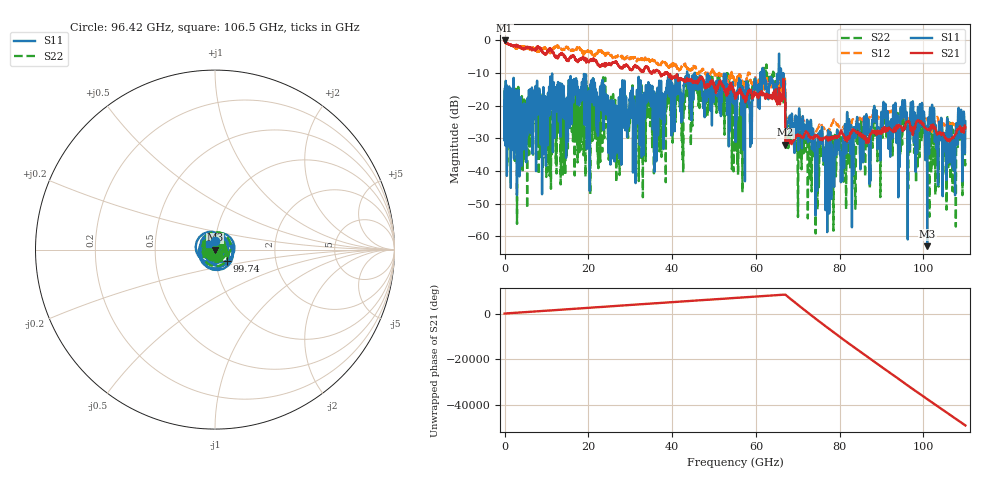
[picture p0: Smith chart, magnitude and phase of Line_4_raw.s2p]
#  HZ  S  RI  R  50.00
! Rohde & Schwarz ZVA67 4Ports - Version 4.11 - 1305.7002k04 SN: 101032
! Date: 2026-02-18 15:34:54
! Measurements: S11 S21 S12 S22
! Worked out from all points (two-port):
!   5500 points, 20 MHz to 110 GHz, reference 50 ohm
!   highest |S21| = -0.06 dB at 20 MHz (marker M1); lowest = -32.0 dB at 67.02 GHz (marker M2)
!   |S21| within 3 dB of the highest: start of sweep to 6.517 GHz; 7.362 GHz to 8.797 GHz (1.435 GHz wide, 17.8 % of centre)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
!   lowest |S11| = -63.1 dB at 100.9 GHz (marker M3), VSWR 1.00, Z = 50 - j0.0681 ohm
!   |S11| at or under -10 dB: start of sweep to 43.55 GHz; 45.33 GHz to 61.12 GHz (15.8 GHz wide, 29.7 % of centre); 66.02 GHz to end of sweep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
!   |S22| runs from -59.2 to -7.4 dB; largest |S21 - S12| = 1.9
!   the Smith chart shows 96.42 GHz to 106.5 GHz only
!   S11 on the Smith chart (normalised r, x): 96.42 GHz: 1.00, +0.09; 99.74 GHz: 1.14, -0.14; 106.5 GHz: 0.94, +0.05
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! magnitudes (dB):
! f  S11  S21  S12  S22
! 20 MHz  -14.9  -0.1  -0.5  -16.1
! 9.48 GHz  -33.1  -4.0  -2.3  -25.6
! 18.36 GHz  -15.8  -5.5  -3.0  -24.9
! 23.56 GHz  -22.1  -7.8  -3.8  -11.6
! 26.24 GHz  -33.2  -6.7  -5.1  -22.8
! 36.68 GHz  -25.8  -9.4  -7.3  -23.1
! 53.16 GHz  -19.1  -15.4  -12.2  -10.9
! 55.02 GHz  -23.0  -17.7  -13.8  -20.8
! 62 GHz  -10.0  -16.8  -15.1  -9.3
! 65.96 GHz  -8.7  -17.2  -15.2  -11.0
! 67.02 GHz  -22.4  -32.0  -23.9  -26.9
! 73.34 GHz  -32.5  -29.9  -28.4  -41.2
! 82.24 GHz  -24.1  -30.2  -26.0  -27.4
! 83.42 GHz  -26.6  -27.7  -24.7  -32.1
! 84.68 GHz  -26.4  -29.2  -24.3  -25.9
! 91.68 GHz  -32.7  -26.8  -21.7  -28.6
! 96.42 GHz  -26.7  -25.0  -24.2  -36.0
! 99.74 GHz  -20.7  -25.6  -25.1  -22.4
! 100.9 GHz  -63.1  -27.4  -24.4  -29.4
! 102 GHz  -19.9  -26.8  -28.0  -24.8
! 106.5 GHz  -27.5  -30.3  -25.0  -36.8
! 110 GHz  -24.9  -26.7  -27.5  -36.4
